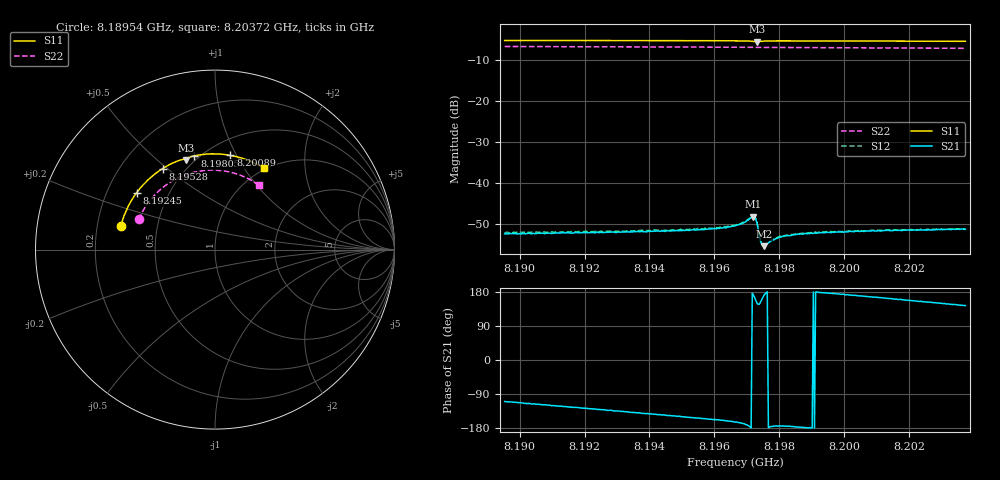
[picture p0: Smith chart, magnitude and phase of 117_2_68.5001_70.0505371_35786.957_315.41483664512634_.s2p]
#  HZ  S  RI  R  50.00
! Rohde & Schwarz Vector Network Analyzer
! Rohde-Schwarz,ZNB20-2Port,1311601062101988,3.16
! Created: UTC 3/20/2024, 5:08:57 PM
! freq[Hz]  re:S11  im:S11  re:S21  im:S21  re:S12  im:S12  re:S22  im:S22
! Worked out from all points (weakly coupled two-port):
!   401 points, 8.18954 GHz to 8.20372 GHz, reference 50 ohm
!   highest |S21| = -48.23 dB at 8.1972 GHz (marker M1); lowest = -55.4 dB at 8.19752 GHz (marker M2)
!   lowest |S11| = -5.6 dB at 8.19731 GHz (marker M3), VSWR 3.19, Z = 22.8 + j31.2 ohm
!   |S11| at or under -10 dB: nowhere
!   |S22| runs from -7.3 to -6.8 dB; largest |S21 - S12| = 0.0002
!   S11 on the Smith chart (normalised r, x): 8.18954 GHz: 0.30, +0.11; 8.19245 GHz: 0.33, +0.29; 8.19528 GHz: 0.38, +0.48; 8.19805 GHz: 0.47, +0.69; 8.20089 GHz: 0.65, +0.94; 8.20372 GHz: 0.98, +1.23
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8.18954e9  -0.5244 0.1332  -0.000797 -0.00226  -0.000883 -0.00231  -0.4247 0.1685
8.191916e9  -0.458 0.2855  -0.00147 -0.00198  -0.00157 -0.00201  -0.3565 0.2813
8.192448e9  -0.4369 0.3164  -0.0016 -0.00189  -0.0017 -0.0019  -0.3368 0.3035
8.194292e9  -0.3481 0.4107  -0.00208 -0.00152  -0.00223 -0.00146  -0.2581 0.3697
8.195285e9  -0.2915 0.4518  -0.00236 -0.00125  -0.00246 -0.00123  -0.2101 0.3974
8.196136e9  -0.2384 0.4809  -0.00258 -0.00103  -0.00267 -0.000925  -0.166 0.4164
8.196632e9  -0.2053 0.495  -0.00287 -0.000838  -0.00294 -0.000742  -0.1394 0.425
8.196881e9  -0.1875 0.5008  -0.00316 -0.000689  -0.00324 -0.000564  -0.1259 0.4288
8.197129e9  -0.1673 0.5032  -0.00375 -4.19e-05  -0.00385 9.95e-05  -0.1123 0.432
8.1972e9  -0.162 0.5011  -0.00383 0.000597  -0.00391 0.000776  -0.1085 0.4328
8.197271e9  -0.16 0.4977  -0.00335 0.00138  -0.00335 0.00155  -0.1046 0.4334
8.197306e9  -0.1606 0.4972  -0.00284 0.0016  -0.00285 0.00171  -0.1027 0.4339
8.197413e9  -0.1605 0.5031  -0.00175 0.000947  -0.00172 0.00104  -0.097 0.4352
8.197448e9  -0.1587 0.5056  -0.00167 0.000686  -0.00166 0.000774  -0.0951 0.4355
8.197519e9  -0.1539 0.5094  -0.00167 0.000288  -0.00167 0.000389  -0.0911 0.4364
8.197838e9  -0.1302 0.5186  -0.00202 -0.000203  -0.0021 -8.15e-05  -0.0733 0.4392
8.198051e9  -0.1149 0.5224  -0.00217 -0.000222  -0.00221 -0.000112  -0.0612 0.4406
8.198512e9  -0.082 0.5283  -0.00235 -0.000134  -0.00237 -4.92e-05  -0.035 0.4428
8.199008e9  -0.0467 0.5321  -0.00243 -3.59e-05  -0.00247 0.000107  -0.00699 0.4432
8.200888e9  0.0859 0.525  -0.00255 0.000635  -0.00253 0.000749  0.0988 0.4283
8.201384e9  0.1202 0.5177  -0.0025 0.000783  -0.00253 0.000925  0.126 0.4202
8.203725e9  0.2719 0.4528  -0.00218 0.00161  -0.00216 0.0017  0.245 0.3579
